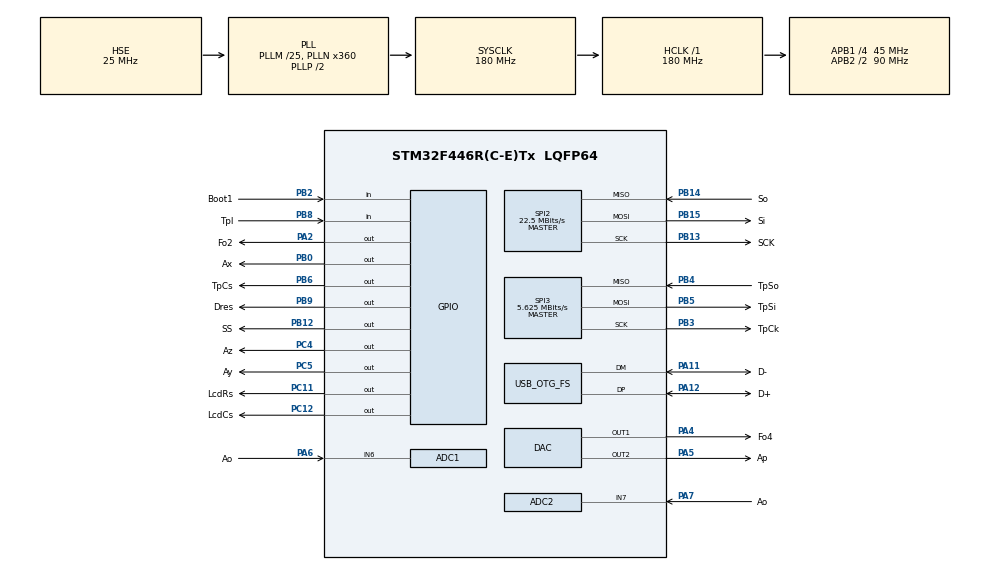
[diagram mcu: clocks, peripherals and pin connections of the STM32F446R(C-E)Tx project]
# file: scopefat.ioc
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ADC1.Channel-0\#ChannelRegularConversion=ADC_CHANNEL_6
ADC1.ClockPrescaler=ADC_CLOCK_SYNC_PCLK_DIV4
ADC1.ExternalTrigConv=ADC_EXTERNALTRIGCONV_T1_CC1
ADC1.Mode=__NULL
ADC1.NbrOfConversionFlag=1
ADC1.Rank-0\#ChannelRegularConversion=1
ADC1.SamplingTime-0\#ChannelRegularConversion=ADC_SAMPLETIME_3CYCLES
ADC1.master=1
ADC2.Channel-0\#ChannelRegularConversion=ADC_CHANNEL_7
ADC2.ClockPrescaler=ADC_CLOCK_SYNC_PCLK_DIV4
ADC2.ExternalTrigConv=ADC_EXTERNALTRIGCONV_T1_CC1
ADC2.NbrOfConversion=1
ADC2.NbrOfConversionFlag=1
ADC2.Rank-0\#ChannelRegularConversion=1
ADC2.SamplingTime-0\#ChannelRegularConversion=ADC_SAMPLETIME_3CYCLES
DAC.DAC_OutputBuffer=DAC_OUTPUTBUFFER_ENABLE
DAC.DAC_OutputBuffer2=DAC_OUTPUTBUFFER_DISABLE
Dma.ADC1.0.Direction=DMA_PERIPH_TO_MEMORY
Dma.ADC1.0.FIFOMode=DMA_FIFOMODE_DISABLE
Dma.ADC1.0.Instance=DMA2_Stream0
Dma.ADC1.0.MemDataAlignment=DMA_MDATAALIGN_HALFWORD
Dma.ADC1.0.MemInc=DMA_MINC_ENABLE
Dma.ADC1.0.Mode=DMA_NORMAL
Dma.ADC1.0.PeriphDataAlignment=DMA_PDATAALIGN_HALFWORD
Dma.ADC1.0.PeriphInc=DMA_PINC_DISABLE
Dma.ADC1.0.Priority=DMA_PRIORITY_LOW
Dma.DAC1.1.Direction=DMA_MEMORY_TO_PERIPH
Dma.DAC1.1.FIFOMode=DMA_FIFOMODE_DISABLE
Dma.DAC1.1.Instance=DMA1_Stream5
Dma.DAC1.1.MemDataAlignment=DMA_MDATAALIGN_HALFWORD
Dma.DAC1.1.MemInc=DMA_MINC_ENABLE
Dma.DAC1.1.Mode=DMA_NORMAL
Dma.DAC1.1.PeriphDataAlignment=DMA_PDATAALIGN_HALFWORD
Dma.DAC1.1.PeriphInc=DMA_PINC_DISABLE
Dma.DAC1.1.Priority=DMA_PRIORITY_LOW
Dma.Request0=ADC1
Dma.Request1=DAC1
FATFS._FS_MINIMIZE=3
FATFS._FS_NORTC=1
FATFS._MAX_SS=4096
FATFS._MIN_SS=4096
FATFS._NORTC_MDAY=20
FATFS._NORTC_MON=11
FATFS._NORTC_YEAR=2021
FATFS._USE_FASTSEEK=0
FATFS._USE_MKFS=1
Mcu.Family=STM32F4
Mcu.Name=STM32F446R(C-E)Tx
Mcu.Package=LQFP64
NVIC.DMA1_Stream5_IRQn=true\:0\:0\:false\:false\:true\:false\:true\:true
NVIC.DMA2_Stream0_IRQn=true\:0\:0\:false\:false\:true\:false\:true\:true
NVIC.OTG_FS_IRQn=true\:0\:0\:false\:false\:true\:true\:true\:true
NVIC.PriorityGroup=NVIC_PRIORITYGROUP_4
NVIC.SPI2_IRQn=true\:1\:0\:true\:false\:true\:true\:true\:true
NVIC.SPI3_IRQn=true\:1\:0\:true\:false\:true\:true\:true\:true
NVIC.TIM3_IRQn=true\:0\:0\:false\:false\:true\:true\:true\:true
NVIC.TIM6_DAC_IRQn=true\:0\:0\:false\:false\:false\:true\:false\:true
PA0-WKUP.Mode=SYS_WakeUp0
PA0-WKUP.Signal=SYS_WKUP0
PA11.GPIO_Label=D-
PA11.Mode=Device_Only
PA11.Signal=USB_OTG_FS_DM
PA12.GPIO_Label=D+
PA12.Mode=Device_Only
PA12.Signal=USB_OTG_FS_DP
PA13.Mode=Serial_Wire
PA13.Signal=SYS_JTMS-SWDIO
PA14.Mode=Serial_Wire
PA14.Signal=SYS_JTCK-SWCLK
PA2.GPIO_Label=Fo2
PA2.Signal=GPIO_Output
PA4.GPIO_Label=Fo4
PA4.Signal=COMP_DAC1_group
PA5.GPIO_Label=Ap
PA5.Signal=COMP_DAC2_group
PA6.GPIO_Label=Ao
PA6.Signal=ADCx_IN6
PA7.GPIO_Label=Ao
PA7.Signal=ADCx_IN7
PB0.GPIO_Label=Ax
PB0.Signal=GPIO_Output
PB12.GPIO_Label=SS
PB12.GPIO_PuPd=GPIO_PULLUP
PB12.PinState=GPIO_PIN_SET
PB12.Signal=GPIO_Output
PB13.GPIO_Label=SCK
PB13.Mode=Full_Duplex_Master
PB13.Signal=SPI2_SCK
PB14.GPIO_Label=So
PB14.Mode=Full_Duplex_Master
PB14.Signal=SPI2_MISO
PB15.GPIO_Label=Si
PB15.Mode=Full_Duplex_Master
PB15.Signal=SPI2_MOSI
PB2.GPIO_Label=Boot1
PB2.Signal=GPIO_Input
PB3.GPIO_Label=TpCk
PB3.Mode=Full_Duplex_Master
PB3.Signal=SPI3_SCK
PB4.GPIO_Label=TpSo
PB4.Mode=Full_Duplex_Master
PB4.Signal=SPI3_MISO
PB5.GPIO_Label=TpSi
PB5.Mode=Full_Duplex_Master
PB5.Signal=SPI3_MOSI
PB6.GPIO_Label=TpCs
PB6.GPIO_PuPd=GPIO_PULLUP
PB6.PinState=GPIO_PIN_SET
PB6.Signal=GPIO_Output
PB8.GPIO_Label=TpI
PB8.GPIO_PuPd=GPIO_PULLUP
PB8.Signal=GPIO_Input
PB9.GPIO_Label=Dres
PB9.Signal=GPIO_Output
PC11.GPIO_Label=LcdRs
PC11.Signal=GPIO_Output
PC12.GPIO_Label=LcdCs
PC12.GPIO_PuPd=GPIO_PULLUP
PC12.PinState=GPIO_PIN_SET
PC12.Signal=GPIO_Output
PC4.GPIO_Label=Az
PC4.Signal=GPIO_Output
PC5.GPIO_Label=Ay
PC5.Signal=GPIO_Output
PH0-OSC_IN.Mode=HSE-External-Oscillator
PH0-OSC_IN.Signal=RCC_OSC_IN
PH1-OSC_OUT.Mode=HSE-External-Oscillator
PH1-OSC_OUT.Signal=RCC_OSC_OUT
ProjectManager.HeapSize=0x2000
ProjectManager.StackSize=0x1000
ProjectManager.TargetToolchain=STM32CubeIDE
RCC.AHBFreq_Value=180000000
RCC.APB1CLKDivider=RCC_HCLK_DIV4
RCC.APB1Freq_Value=45000000
RCC.APB1TimFreq_Value=90000000
RCC.APB2CLKDivider=RCC_HCLK_DIV2
RCC.APB2Freq_Value=90000000
RCC.APB2TimFreq_Value=180000000
RCC.CortexFreq_Value=22500000
RCC.Cortex_Div=SYSTICK_CLKSOURCE_HCLK_DIV8
RCC.HCLKFreq_Value=180000000
RCC.PLLM=25
RCC.PLLN=360
RCC.PLLQ=5
RCC.PLLSAIM=25
RCC.PLLSAIP=RCC_PLLSAIP_DIV4
RCC.SYSCLKFreq_VALUE=180000000
RCC.SYSCLKSource=RCC_SYSCLKSOURCE_PLLCLK
RCC.USBCLockSelection=RCC_CLK48CLKSOURCE_PLLSAIP
RCC.USBFreq_Value=48000000
RCC.VCOOutputFreq_Value=360000000
SH.ADCx_IN6.0=ADC1_IN6,IN6
SH.ADCx_IN7.0=ADC2_IN7,IN7
SH.COMP_DAC1_group.0=DAC_OUT1,DAC_OUT1
SH.COMP_DAC2_group.0=DAC_OUT2,DAC_OUT2
SPI2.BaudRatePrescaler=SPI_BAUDRATEPRESCALER_2
SPI2.CLKPhase=SPI_PHASE_2EDGE
SPI2.CLKPolarity=SPI_POLARITY_HIGH
SPI2.CRCCalculation=SPI_CRCCALCULATION_DISABLE
SPI2.CalculateBaudRate=22.5 MBits/s
SPI2.Direction=SPI_DIRECTION_2LINES
SPI2.FirstBit=SPI_FIRSTBIT_MSB
SPI2.Mode=SPI_MODE_MASTER
SPI2.VirtualType=VM_MASTER
SPI3.BaudRatePrescaler=SPI_BAUDRATEPRESCALER_8
SPI3.CalculateBaudRate=5.625 MBits/s
SPI3.DataSize=SPI_DATASIZE_16BIT
SPI3.Direction=SPI_DIRECTION_2LINES
SPI3.FirstBit=SPI_FIRSTBIT_MSB
SPI3.Mode=SPI_MODE_MASTER
SPI3.VirtualType=VM_MASTER
TIM1.AutoReloadPreload=TIM_AUTORELOAD_PRELOAD_ENABLE
TIM1.ClockDivision=TIM_CLOCKDIVISION_DIV1
TIM1.CounterMode=TIM_COUNTERMODE_DOWN
TIM1.Period=999
TIM1.Prescaler=89
TIM3.AutoReloadPreload=TIM_AUTORELOAD_PRELOAD_ENABLE
TIM3.Period=7499
TIM3.Prescaler=11
TIM3.TIM_MasterOutputTrigger=TIM_TRGO_UPDATE
TIM5.AutoReloadPreload=TIM_AUTORELOAD_PRELOAD_ENABLE
TIM5.Period=18000
TIM5.Prescaler=9
TIM7.Period=999
TIM7.Prescaler=2
USB_DEVICE.CLASS_NAME_FS=MSC
USB_DEVICE.VirtualMode-MSC_FS=Msc
USB_DEVICE.VirtualModeFS=Msc_FS
USB_OTG_FS.VirtualMode=Device_Only
VP_FATFS_VS_Generic.Mode=User_defined
VP_TIM1_VS_ClockSourceINT.Mode=Internal
VP_TIM3_VS_ClockSourceINT.Mode=Internal
VP_TIM5_VS_ClockSourceINT.Mode=Internal
VP_TIM7_VS_ClockSourceINT.Mode=Enable_Timer
VP_USB_DEVICE_VS_USB_DEVICE_MSC_FS.Mode=MSC_FS
board=custom

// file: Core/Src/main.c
/* USER CODE BEGIN Header */
/**
  ******************************************************************************
  * @file           : main.c
  * @brief          : Main program body
  ******************************************************************************
  * @attention
  *
  * <h2><center>&copy; Copyright (c) 2021 STMicroelectronics.
  * All rights reserved.</center></h2>
  *
  * This software component is licensed by ST under Ultimate Liberty license
  * SLA0044, the "License"; You may not use this file except in compliance with
  * the License. You may obtain a copy of the License at:
  *                             www.st.com/SLA0044
  *
  ******************************************************************************
  */
/* USER CODE END Header */
#include "main.h"
#include "fatfs.h"
#include "usb_device.h"

/* USER CODE BEGIN Includes */
#include "Lcd_ctl.h"
#include "Touch_ctl.h"
#include "Flash.h"
#include "Draw.h"
#include "Process.h"
#include "File.h"
#include "Menu.h"
#include "Display.h"
#include "Bios.h"
#include "Flash.h"
/* USER CODE END Includes */

ADC_HandleTypeDef hadc1;
ADC_HandleTypeDef hadc2;
DMA_HandleTypeDef hdma_adc1;

DAC_HandleTypeDef hdac;
DMA_HandleTypeDef hdma_dac1;

SPI_HandleTypeDef hspi2;
SPI_HandleTypeDef hspi3;

TIM_HandleTypeDef htim1;
TIM_HandleTypeDef htim3;
TIM_HandleTypeDef htim5;
TIM_HandleTypeDef htim7;

/* USER CODE BEGIN PV */
TIM_OC_InitTypeDef octim1;
TIM_OC_InitTypeDef octim3;
TIM_OC_InitTypeDef octim5;
char  APP_VERSION[] = "V2.00";   //bump version to 2
/* USER CODE END PV */

void SystemClock_Config(void);
static void MX_GPIO_Init(void);
static void MX_DMA_Init(void);
static void MX_ADC1_Init(void);
static void MX_ADC2_Init(void);
static void MX_DAC_Init(void);
static void MX_SPI2_Init(void);
static void MX_SPI3_Init(void);
static void MX_TIM1_Init(void);
static void MX_TIM3_Init(void);
static void MX_TIM5_Init(void);
static void MX_TIM7_Init(void);

int main(void)
{
  /* USER CODE BEGIN 1 */
  short i;
  char SAVE_FLAG = 0;
  char Pop_Num = 0;
  unsigned dma_tmp;
  /* USER CODE END 1 */

  /* MCU Configuration--------------------------------------------------------*/

  /* Reset of all peripherals, Initializes the Flash interface and the Systick. */
  HAL_Init();

  /* Configure the system clock */
  SystemClock_Config();

  /* Initialize all configured peripherals */
  MX_GPIO_Init();
  MX_DMA_Init();
  MX_ADC1_Init();
  MX_ADC2_Init();
  MX_DAC_Init();
  MX_SPI2_Init();
  MX_SPI3_Init();
  MX_TIM1_Init();
  MX_TIM3_Init();
  MX_TIM5_Init();
  MX_USB_DEVICE_Init();
  MX_TIM7_Init();
  MX_FATFS_Init();
  /* USER CODE BEGIN 2 */

  // initialize adc dma
  __HAL_DMA_DISABLE(&hdma_adc1);
  dma_tmp = hdma_adc1.Instance->CR;
  dma_tmp &= 0x0FFCFFFE;
  dma_tmp |= 0x30000; //set very high pirority
  hdma_adc1.Instance->CR = dma_tmp;

   hdma_adc1.Instance->M0AR = (unsigned)&Sampl[2];
   hdma_adc1.Instance->PAR = hadc1.Instance->DR;
   __HAL_DMA_SET_COUNTER(&hdma_adc1, 0x1000);
   __HAL_DMA_ENABLE(&hdma_adc1);

  // inittialize LCD and touch screen
  Init_LCD();
  Init_Touch();

  SetColor(BLK, WHT);

  DispStr8x14(8, 90, PRN, "         Oscilloscope              ");
  DispStr8x14(8+22*8, 90, PRN, APP_VERSION);
  DispStr8x14(8, 70, PRN, "        System Initializing...       ");

  HAL_Delay(1000);

//=============================check callibration׼===========================
  Read_CalFlag();

  if(Cal_Flag == 1)
  {
	  Cal_Flag = 0;
	  SetColor(BLK, WHT);
	  Zero_Align();                              //set zero
	  Restore();                                 //restore list
	  Save_Parameter();                          //save list
	  Save_Kpg();
  }
  Read_Kpg();
  Read_Parameter();
  File_Num();
  memcpy(Data, DEMO, 310);

  LCD_ClrScrn(GRY);
  Update_Title();

  List[SMPL_DPTH].Flg |= UPD;

  StdBy_Time = List[STANDBY].Val * MIN_UNIT;

  // Start timer
  HAL_TIM_Base_Start_IT(&htim3);

  /* USER CODE END 2 */

  /* Infinite loop */
  /* USER CODE BEGIN WHILE */
  while (1)
  {
	    if((List[STANDBY].Val != 0)&&(StdBy_Time == 0))
	    {
	      StdBy_Flag = 1;
	    }

	    Update_Detail();
	    Update_Blink();
	    WaveProcess();
	    DrawWindow(WaveBuf, ParamTab);

	   if(TIM_BASE_Val!=0)
	    {
	      List[TIM_BASE].Val=TIM_BASE_Val;
	      List[TIM_BASE].Flg |= UPD;
	      TIM_BASE_Val=Current;
	      Update_Title();
	      Current=TIM_BASE_Val;
	      TIM_BASE_Val=0;
	    }
    /* USER CODE END WHILE */

    /* USER CODE BEGIN 3 */
	    if(Key_Buffer != 0)
	    {
	      StdBy_Flag = 0;
	      PopupCnt = 10;                  // �ް���ʱ�˵���ά����ʾ 10��
	      List[MenuNow[Current]].Flg |= UPD;

	      switch (Key_Buffer)
	      {
	     case KEYCODE_MEM:
	         i = Save_Bmp(List[SAVE_BMP].Val);
	         DispFileInfo(i);
	         DispBMPInfo();
	        break;

	     case KEYCODE_ACT:
	       SAVE_FLAG=0;
	       if(PopType & DAILOG_POP) Close_Pop();
	       else {
	         Dialog_Pop("Save All ParamTab?");
	         Pop_Num = 1;
	       }
	       break;

	     case KEYCODE_PLAY:
	       if((Current == ST)&&(Cal_Flag==0))
	       {
	         if(PopType & DAILOG_POP){
	           if(Pop_Num == 1){
	             Save_Parameter();
	             Close_Pop();
	           }
	           else{
	             Close_Pop();
	             List_Pop();
	           }
	         }
	         else if((PopType & LIST_POP) && (MenuNow[ST]==RESTORE )) {
	           Restore_CalPar();
	           Dialog_Pop("Save All ParamTab?");
	           Cal_Flag = 1;
	         }
	         else if((PopType & LIST_POP) && (MenuNow[ST]==AUTO_CAL )) {
	           Close_Pop();
	           Calibrate_Pop("Waiting for Calibration...");
	           Cal_Flag = 1;
	           DrawWindow(WaveBuf, ParamTab);
	           Zero_Align();
	           Update_Proc_All();
	           Close_Pop();
	           CalSave_Pop("Save Cal ParamTab?");
	         }
	         break;
	       }
	       else if((Current == ST)&&(Cal_Flag==1)){
	         if(PopType & DAILOG_POP){
	           Save_Kpg();
	           Close_Pop();
	           Cal_Flag = 0;
	         }
	         break;
	       }

	       if ((Current == FN)&&(PopType & LIST_POP)){
	         i = 0;
	         {
	           if(SAVE_FLAG==KEYCODE_MEM)Close_Pop();
	           if(MenuNow[FN] == SAVE_BMP) i = Save_Bmp(List[SAVE_BMP].Val);
	           if(MenuNow[FN] == SAVE_DAT) i = Save_Dat(List[SAVE_DAT].Val);
	           if(MenuNow[FN] == SAVE_BUF) i = Save_Buf(List[SAVE_BUF].Val);
	           if(MenuNow[FN] == SAVE_CSV) i = Save_Csv(List[SAVE_CSV].Val);
	           if(MenuNow[FN] == SAVE_SVG) i = Save_Svg(List[SAVE_SVG].Val);
	           if(MenuNow[FN] == LOAD_DAT) i = Load_Dat(List[LOAD_DAT].Val);
	           if(MenuNow[FN] == LOAD_BUF) i = Load_Buf(List[LOAD_BUF].Val);
	           SAVE_FLAG = 0;
	         }
	         DispFileInfo(i);

	         if(PopType & DAILOG_POP)  Close_Pop();

	       }
	       else if((PopType & DAILOG_POP ) &&(SAVE_FLAG!=KEYCODE_MEM)){
	         Save_Parameter();
	         Cal_Flag = 0;
	         Close_Pop();
	         break;
	       }
	       else {
	          if(Status & STOP){
	            if(Status & LOADM )Status &= ~LOADM;
	            Status &= ~STOP;     // ��������״̬
	            if(List[SYNCMODE].Val==SINGL) ADC_Start();
	            if(List[SYNCMODE].Val==NORM)  ADC_Start();
	            Norm_Clr = 1;
	            SNGL_Kflag = 1;
	            Update_Proc_All();

	            if(*(short*)F_Sector==0xaa55)Restore_Scene();

	          }
	          else {
	            Status |=  STOP;     // ������ͣ״̬
	            Ch1_Posi = List[V0_POSI].Val;
	            Ch2_Posi = List[EXT_POSI].Val;
	            Tri_Posi = List[THRESHOLD].Val;
	          #ifdef SAVEBMP
	            Save_Bmp(List[SAVE_BMP].Val);
	            List[SAVE_BMP].Val++;
	          #endif
	          }
	        }
	        DispStatus();            // ��ʾ����״̬
 	       break;

	      case KEYCODE_D_MANU:
	        if(List[FITTRIGG].Val)
	        {
	          Auto_Fit();
	        }
	        break;

	      case KEYCODE_MANU:
	        if(!(PopType & LIST_POP)){
	            if(Cal_Flag){
	              Cal_Flag = 0;
	              Close_Pop();
	            }else{
	              Cal_Flag = 0;
	              List_Pop(); // �˵����ر�ʱ, �򿪲˵���
	            }
	        }
	        else {
	          Close_Pop();                // �˵����Ѵ�ʱ, �رղ˵���
	          // ------------ �ָ���ʾ��Ϣ��ʾ�����ԭ����ʾ��Ϣ ------------
	          if(Current == XN)      List[T1_POSI   ].Flg |= UPD;
	          else if(Current == YN) List[V1_POSI   ].Flg |= UPD;
	          else                   List[MenuNow[SN]].Flg |= UPD;
	          // ------------ �ָ���ʾ��Ϣ��ʾ���Ҷ�ԭ����ʾ��Ϣ ------------
	          if(MenuNow[Current] == SMPL_DPTH) List[SMPL_DPTH].Flg  |= UPD; // ������ȸ�����ʾ
	          else if(Current == FN)           List[MenuNow[FN]].Flg |= UPD; // ָ�����ļ���д�������ʾ
	          else                             List[MenuNow[ME]].Flg |= UPD; // ָ���Ĳ��β����������ʾ
	        }
	        break;

	      case KEYCODE_UP:
	        if (PopType & LIST_POP){
	          if(MenuNow[Current] > MU_BEGN[Current]) MenuNow[Current]--;
	          else                  MenuNow[Current] += M_ITEMS[Current]-1;
	        } else {
	          if (Current > 0) Current--;
	          else             Current = ST;
	        }
	        break;

	     case KEYCODE_DOWN:
	        if(PopType & LIST_POP){
	          MenuNow[Current]++;
	          if(MenuNow[Current] >=(MU_BEGN[Current]+M_ITEMS[Current])){
	            MenuNow[Current] = MU_BEGN[Current];
	          }
	        } else {
	          if (Current < 7) Current++;
	          else             Current = YN;
	        }
	        break;

	      case KEYCODE_LEFT:
	        if((Current==ST)&& !(PopType & LIST_POP))break;
	        List[MenuNow[Current]].Flg |= UPD;  // ˢ�±��ǰԭ��ʾ��Ŀ����
	        if(List[MenuNow[Current]].Val <=MIN[MenuNow[Current]]){
	          if((MenuNow[Current] == COUPLING)||(MenuNow[Current] == YN_TYPE )||
	            (MenuNow[Current] == XN_TYPE )||(MenuNow[Current] == EXT_HIDE)||
	            ( MenuNow[Current] == FITTRIGG)||(MenuNow[Current] == TR_MODE )||
	            ( MenuNow[Current] == SYNCMODE)||(MenuNow[Current] == EXT_REFN)||
	            (MenuNow[Current] == PROBEATT)||(MenuNow[Current] == TPYE_OUT))
	            List[MenuNow[Current]].Val =MAX[MenuNow[Current]] ;
	        } else {
	          if((MenuNow[Current] == VIEWPOSI)&&((List[MenuNow[Current]].Val) >=150 ))
	            List[MenuNow[Current]].Val-=25;
	          else{
	          //============5.04�޸������߳�����������========
	            if(MenuNow[Current] == THRESHOLD){
	              if((List[V0_POSI].Val + List[THRESHOLD].Val) > 2)  //����������
	                List[MenuNow[Current]].Val--;
	            }
	            else if(MenuNow[Current] == V0_POSI){
	              if((List[V0_POSI].Val + List[THRESHOLD].Val) <2){
	                List[V0_POSI].Val--;
	                List[THRESHOLD].Val++;
	              }else List[MenuNow[Current]].Val--;
	            }
	            else if((MenuNow[Current] ==V1_POSI) && (List[V1_POSI].Val <= List[V2_POSI].Val))
	            List[MenuNow[Current]].Val=List[V2_POSI].Val;
	            else List[MenuNow[Current]].Val--;
	          }
	          //==============================================
	            if(MenuNow[Current] == SMPL_DPTH){
	              List[VIEWPOSI].Val=1 ;
	           }
	            if((MenuNow[Current] ==T2_POSI) && (List[T2_POSI].Val <= List[T1_POSI].Val))
	              List[MenuNow[Current]].Val=List[T1_POSI].Val;
	        }
	        if(Current == TRG) Status &= ~STOP; // �ı�ͬ��ģʽ��ָ�����״̬
	        break;

	      case KEYCODE_RIGHT:
	        if((Current==ST)&& !(PopType & LIST_POP))break;
	        List[MenuNow[Current]].Flg |= UPD;  // ˢ�±��ǰԭ��ʾ��Ŀ����
	        if(List[MenuNow[Current]].Val >=MAX[MenuNow[Current]] ){
	          if((MenuNow[Current] == COUPLING)||(MenuNow[Current] == YN_TYPE )||
	            (MenuNow[Current] == XN_TYPE )||(MenuNow[Current] == EXT_HIDE)||
	            ( MenuNow[Current] == FITTRIGG)||(MenuNow[Current] == TR_MODE )||
	            ( MenuNow[Current] == SYNCMODE)||(MenuNow[Current] == EXT_REFN)||
	            (MenuNow[Current] == PROBEATT)||(MenuNow[Current] == TPYE_OUT))
	            List[MenuNow[Current]].Val =MIN[MenuNow[Current]] ;
	        } else {
	            if(MenuNow[Current] == VIEWPOSI)
	            {
	              if(List[MenuNow[Current]].Val <(DEPTH[List[SMPL_DPTH].Val]-(350-List[SMPL_DPTH].Val)))
	              {
	                if(List[MenuNow[Current]].Val >150 )
	                  List[MenuNow[Current]].Val += 25;
	                else
	                  List[MenuNow[Current]].Val++;
	              }
	            }
	            else{
	              //============4.27�޸������߳�����������========
	              if(MenuNow[Current] == THRESHOLD){
	                if((List[V0_POSI].Val + List[THRESHOLD].Val) < 198)
	                 List[MenuNow[Current]].Val++;
	              }
	              else if(MenuNow[Current] == V0_POSI){
	                if((List[V0_POSI].Val + List[THRESHOLD].Val) > 198){
	                  List[V0_POSI].Val++;
	                  List[THRESHOLD].Val--;
	                }else List[MenuNow[Current]].Val++;
	              }
	              else if((MenuNow[Current] ==V2_POSI) && (List[V2_POSI].Val >= List[V1_POSI].Val))
	                List[MenuNow[Current]].Val=List[V1_POSI].Val;
	              else List[MenuNow[Current]].Val++;
	            }
	            //==============================================
	            if((MenuNow[Current] ==T1_POSI) && (List[T1_POSI].Val >= List[T2_POSI].Val))
	               List[MenuNow[Current]].Val=List[T2_POSI].Val;
	        }
	        if(Current == TRG) {Status &= ~STOP; // �ı�ͬ��ģʽ��ָ�����״̬
	        if(List[SYNCMODE].Val==SINGL)ADC_Start(); }
	        break;

	     } //switch end
	     List[MenuNow[Current]].Flg |= UPD;
	     StdBy_Time  = List[STANDBY].Val * MIN_UNIT;  //����

	      if(PopType & LIST_POP) Show_List();
	      Update_Title();
	      Key_Buffer = 0;
	    } //if key end
  }
  /* USER CODE END 3 */
}

void SystemClock_Config(void)
{
  RCC_OscInitTypeDef RCC_OscInitStruct = {0};
  RCC_ClkInitTypeDef RCC_ClkInitStruct = {0};

  /** Configure the main internal regulator output voltage
  */
  __HAL_RCC_PWR_CLK_ENABLE();
  __HAL_PWR_VOLTAGESCALING_CONFIG(PWR_REGULATOR_VOLTAGE_SCALE1);

  /** Initializes the RCC Oscillators according to the specified parameters
  * in the RCC_OscInitTypeDef structure.
  */
  RCC_OscInitStruct.OscillatorType = RCC_OSCILLATORTYPE_HSE;
  RCC_OscInitStruct.HSEState = RCC_HSE_ON;
  RCC_OscInitStruct.PLL.PLLState = RCC_PLL_ON;
  RCC_OscInitStruct.PLL.PLLSource = RCC_PLLSOURCE_HSE;
  RCC_OscInitStruct.PLL.PLLM = 25;
  RCC_OscInitStruct.PLL.PLLN = 360;
  RCC_OscInitStruct.PLL.PLLP = RCC_PLLP_DIV2;
  RCC_OscInitStruct.PLL.PLLQ = 5;
  RCC_OscInitStruct.PLL.PLLR = 2;
  if (HAL_RCC_OscConfig(&RCC_OscInitStruct) != HAL_OK)
  {
    Error_Handler();
  }

  /** Activate the Over-Drive mode
  */
  if (HAL_PWREx_EnableOverDrive() != HAL_OK)
  {
    Error_Handler();
  }

  /** Initializes the CPU, AHB and APB buses clocks
  */
  RCC_ClkInitStruct.ClockType = RCC_CLOCKTYPE_HCLK|RCC_CLOCKTYPE_SYSCLK
                              |RCC_CLOCKTYPE_PCLK1|RCC_CLOCKTYPE_PCLK2;
  RCC_ClkInitStruct.SYSCLKSource = RCC_SYSCLKSOURCE_PLLCLK;
  RCC_ClkInitStruct.AHBCLKDivider = RCC_SYSCLK_DIV1;
  RCC_ClkInitStruct.APB1CLKDivider = RCC_HCLK_DIV4;
  RCC_ClkInitStruct.APB2CLKDivider = RCC_HCLK_DIV2;

  if (HAL_RCC_ClockConfig(&RCC_ClkInitStruct, FLASH_LATENCY_5) != HAL_OK)
  {
    Error_Handler();
  }
}

static void MX_ADC1_Init(void)
{

  ADC_ChannelConfTypeDef sConfig = {0};

  /** Configure the global features of the ADC (Clock, Resolution, Data Alignment and number of conversion)
  */
  hadc1.Instance = ADC1;
  hadc1.Init.ClockPrescaler = ADC_CLOCK_SYNC_PCLK_DIV4;
  hadc1.Init.Resolution = ADC_RESOLUTION_12B;
  hadc1.Init.ScanConvMode = DISABLE;
  hadc1.Init.ContinuousConvMode = DISABLE;
  hadc1.Init.DiscontinuousConvMode = DISABLE;
  hadc1.Init.ExternalTrigConvEdge = ADC_EXTERNALTRIGCONVEDGE_RISING;
  hadc1.Init.ExternalTrigConv = ADC_EXTERNALTRIGCONV_T1_CC1;
  hadc1.Init.DataAlign = ADC_DATAALIGN_RIGHT;
  hadc1.Init.NbrOfConversion = 1;
  hadc1.Init.DMAContinuousRequests = DISABLE;
  hadc1.Init.EOCSelection = ADC_EOC_SINGLE_CONV;
  if (HAL_ADC_Init(&hadc1) != HAL_OK)
  {
    Error_Handler();
  }

  /** Configure for the selected ADC regular channel its corresponding rank in the sequencer and its sample time.
  */
  sConfig.Channel = ADC_CHANNEL_6;
  sConfig.Rank = 1;
  sConfig.SamplingTime = ADC_SAMPLETIME_3CYCLES;
  if (HAL_ADC_ConfigChannel(&hadc1, &sConfig) != HAL_OK)
  {
    Error_Handler();
  }

}

static void MX_ADC2_Init(void)
{

  ADC_ChannelConfTypeDef sConfig = {0};

  /** Configure the global features of the ADC (Clock, Resolution, Data Alignment and number of conversion)
  */
  hadc2.Instance = ADC2;
  hadc2.Init.ClockPrescaler = ADC_CLOCK_SYNC_PCLK_DIV4;
  hadc2.Init.Resolution = ADC_RESOLUTION_12B;
  hadc2.Init.ScanConvMode = DISABLE;
  hadc2.Init.ContinuousConvMode = DISABLE;
  hadc2.Init.DiscontinuousConvMode = DISABLE;
  hadc2.Init.ExternalTrigConvEdge = ADC_EXTERNALTRIGCONVEDGE_RISING;
  hadc2.Init.ExternalTrigConv = ADC_EXTERNALTRIGCONV_T1_CC1;
  hadc2.Init.DataAlign = ADC_DATAALIGN_RIGHT;
  hadc2.Init.NbrOfConversion = 1;
  hadc2.Init.DMAContinuousRequests = DISABLE;
  hadc2.Init.EOCSelection = ADC_EOC_SINGLE_CONV;
  if (HAL_ADC_Init(&hadc2) != HAL_OK)
  {
    Error_Handler();
  }

  /** Configure for the selected ADC regular channel its corresponding rank in the sequencer and its sample time.
  */
  sConfig.Channel = ADC_CHANNEL_7;
  sConfig.Rank = 1;
  sConfig.SamplingTime = ADC_SAMPLETIME_3CYCLES;
  if (HAL_ADC_ConfigChannel(&hadc2, &sConfig) != HAL_OK)
  {
    Error_Handler();
  }

}

static void MX_DAC_Init(void)
{

  DAC_ChannelConfTypeDef sConfig = {0};

  /** DAC Initialization
  */
  hdac.Instance = DAC;
  if (HAL_DAC_Init(&hdac) != HAL_OK)
  {
    Error_Handler();
  }

  /** DAC channel OUT1 config
  */
  sConfig.DAC_Trigger = DAC_TRIGGER_NONE;
  sConfig.DAC_OutputBuffer = DAC_OUTPUTBUFFER_ENABLE;
  if (HAL_DAC_ConfigChannel(&hdac, &sConfig, DAC_CHANNEL_1) != HAL_OK)
  {
    Error_Handler();
  }

  /** DAC channel OUT2 config
  */
  sConfig.DAC_OutputBuffer = DAC_OUTPUTBUFFER_DISABLE;
  if (HAL_DAC_ConfigChannel(&hdac, &sConfig, DAC_CHANNEL_2) != HAL_OK)
  {
    Error_Handler();
  }
  /* USER CODE BEGIN DAC_Init 2 */
  HAL_DAC_SetValue(&hdac, DAC_CHANNEL_2, DAC_ALIGN_12B_R, 620);  //(620*4095)/330;//50mv
  /* USER CODE END DAC_Init 2 */

}

static void MX_SPI2_Init(void)
{

  /* SPI2 parameter configuration*/
  hspi2.Instance = SPI2;
  hspi2.Init.Mode = SPI_MODE_MASTER;
  hspi2.Init.Direction = SPI_DIRECTION_2LINES;
  hspi2.Init.DataSize = SPI_DATASIZE_8BIT;
  hspi2.Init.CLKPolarity = SPI_POLARITY_HIGH;
  hspi2.Init.CLKPhase = SPI_PHASE_2EDGE;
  hspi2.Init.NSS = SPI_NSS_SOFT;
  hspi2.Init.BaudRatePrescaler = SPI_BAUDRATEPRESCALER_2;
  hspi2.Init.FirstBit = SPI_FIRSTBIT_MSB;
  hspi2.Init.TIMode = SPI_TIMODE_DISABLE;
  hspi2.Init.CRCCalculation = SPI_CRCCALCULATION_DISABLE;
  hspi2.Init.CRCPolynomial = 10;
  if (HAL_SPI_Init(&hspi2) != HAL_OK)
  {
    Error_Handler();
  }

}

static void MX_SPI3_Init(void)
{

  /* SPI3 parameter configuration*/
  hspi3.Instance = SPI3;
  hspi3.Init.Mode = SPI_MODE_MASTER;
  hspi3.Init.Direction = SPI_DIRECTION_2LINES;
  hspi3.Init.DataSize = SPI_DATASIZE_16BIT;
  hspi3.Init.CLKPolarity = SPI_POLARITY_LOW;
  hspi3.Init.CLKPhase = SPI_PHASE_1EDGE;
  hspi3.Init.NSS = SPI_NSS_SOFT;
  hspi3.Init.BaudRatePrescaler = SPI_BAUDRATEPRESCALER_8;
  hspi3.Init.FirstBit = SPI_FIRSTBIT_MSB;
  hspi3.Init.TIMode = SPI_TIMODE_DISABLE;
  hspi3.Init.CRCCalculation = SPI_CRCCALCULATION_DISABLE;
  hspi3.Init.CRCPolynomial = 10;
  if (HAL_SPI_Init(&hspi3) != HAL_OK)
  {
    Error_Handler();
  }

}

static void MX_TIM1_Init(void)
{

  TIM_ClockConfigTypeDef sClockSourceConfig = {0};
  TIM_MasterConfigTypeDef sMasterConfig = {0};

  /* USER CODE BEGIN TIM1_Init 1 */
  octim1.Pulse = 500;
  octim1.OCMode = TIM_OCMODE_PWM2;
  /* USER CODE END TIM1_Init 1 */
  htim1.Instance = TIM1;
  htim1.Init.Prescaler = 89;
  htim1.Init.CounterMode = TIM_COUNTERMODE_DOWN;
  htim1.Init.Period = 999;
  htim1.Init.ClockDivision = TIM_CLOCKDIVISION_DIV1;
  htim1.Init.RepetitionCounter = 0;
  htim1.Init.AutoReloadPreload = TIM_AUTORELOAD_PRELOAD_ENABLE;
  if (HAL_TIM_Base_Init(&htim1) != HAL_OK)
  {
    Error_Handler();
  }
  sClockSourceConfig.ClockSource = TIM_CLOCKSOURCE_INTERNAL;
  if (HAL_TIM_ConfigClockSource(&htim1, &sClockSourceConfig) != HAL_OK)
  {
    Error_Handler();
  }
  sMasterConfig.MasterOutputTrigger = TIM_TRGO_RESET;
  sMasterConfig.MasterSlaveMode = TIM_MASTERSLAVEMODE_DISABLE;
  if (HAL_TIMEx_MasterConfigSynchronization(&htim1, &sMasterConfig) != HAL_OK)
  {
    Error_Handler();
  }
  /* USER CODE BEGIN TIM1_Init 2 */
  HAL_TIM_OC_ConfigChannel(&htim1, &octim1, 1 );
  __HAL_TIM_URS_ENABLE(&htim1);
  __HAL_TIM_ENABLE_DMA(&htim1, TIM_DMA_CC1 | TIM_DMA_TRIGGER);
  __HAL_TIM_ENABLE(&htim1);
  /* USER CODE END TIM1_Init 2 */

}

static void MX_TIM3_Init(void)
{

  TIM_ClockConfigTypeDef sClockSourceConfig = {0};
  TIM_MasterConfigTypeDef sMasterConfig = {0};

  /* USER CODE BEGIN TIM3_Init 1 */
  octim3.Pulse = 3750;
  /* USER CODE END TIM3_Init 1 */
  htim3.Instance = TIM3;
  htim3.Init.Prescaler = 11;
  htim3.Init.CounterMode = TIM_COUNTERMODE_UP;
  htim3.Init.Period = 7499;
  htim3.Init.ClockDivision = TIM_CLOCKDIVISION_DIV1;
  htim3.Init.AutoReloadPreload = TIM_AUTORELOAD_PRELOAD_ENABLE;
  if (HAL_TIM_Base_Init(&htim3) != HAL_OK)
  {
    Error_Handler();
  }
  sClockSourceConfig.ClockSource = TIM_CLOCKSOURCE_INTERNAL;
  if (HAL_TIM_ConfigClockSource(&htim3, &sClockSourceConfig) != HAL_OK)
  {
    Error_Handler();
  }
  sMasterConfig.MasterOutputTrigger = TIM_TRGO_UPDATE;
  sMasterConfig.MasterSlaveMode = TIM_MASTERSLAVEMODE_DISABLE;
  if (HAL_TIMEx_MasterConfigSynchronization(&htim3, &sMasterConfig) != HAL_OK)
  {
    Error_Handler();
  }
  /* USER CODE BEGIN TIM3_Init 2 */
  HAL_TIM_OC_ConfigChannel(&htim3, &octim3, 1 );
  __HAL_TIM_ENABLE(&htim3);

  /* USER CODE END TIM3_Init 2 */

}

static void MX_TIM5_Init(void)
{

  TIM_ClockConfigTypeDef sClockSourceConfig = {0};
  TIM_MasterConfigTypeDef sMasterConfig = {0};

  /* USER CODE BEGIN TIM5_Init 1 */
  octim5.Pulse = (FARR[List[FREQ_OUT].Val]+1)/2;
  octim5.OCMode = TIM_OCMODE_PWM2;
  octim5.OCFastMode = TIM_OCFAST_ENABLE;
  /* USER CODE END TIM5_Init 1 */
  htim5.Instance = TIM5;
  htim5.Init.Prescaler = 9;
  htim5.Init.CounterMode = TIM_COUNTERMODE_UP;
  htim5.Init.Period = 18000;
  htim5.Init.ClockDivision = TIM_CLOCKDIVISION_DIV1;
  htim5.Init.AutoReloadPreload = TIM_AUTORELOAD_PRELOAD_ENABLE;
  if (HAL_TIM_Base_Init(&htim5) != HAL_OK)
  {
    Error_Handler();
  }
  sClockSourceConfig.ClockSource = TIM_CLOCKSOURCE_INTERNAL;
  if (HAL_TIM_ConfigClockSource(&htim5, &sClockSourceConfig) != HAL_OK)
  {
    Error_Handler();
  }
  sMasterConfig.MasterOutputTrigger = TIM_TRGO_RESET;
  sMasterConfig.MasterSlaveMode = TIM_MASTERSLAVEMODE_DISABLE;
  if (HAL_TIMEx_MasterConfigSynchronization(&htim5, &sMasterConfig) != HAL_OK)
  {
    Error_Handler();
  }
  /* USER CODE BEGIN TIM5_Init 2 */
  htim5.Init.Period = FARR[List[FREQ_OUT].Val];
  if (HAL_TIM_Base_Init(&htim5) != HAL_OK)
  {
    Error_Handler();
  }
  HAL_TIM_OC_ConfigChannel(&htim5, &octim5, 3 );
  __HAL_TIM_URS_ENABLE(&htim5);
  __HAL_TIM_ENABLE(&htim5);
  /* USER CODE END TIM5_Init 2 */

}

static void MX_TIM7_Init(void)
{

  /* USER CODE BEGIN TIM7_Init 0 */
  // aka tim_da
  /* USER CODE END TIM7_Init 0 */

  TIM_MasterConfigTypeDef sMasterConfig = {0};

  htim7.Instance = TIM7;
  htim7.Init.Prescaler = 2;
  htim7.Init.CounterMode = TIM_COUNTERMODE_UP;
  htim7.Init.Period = 999;
  htim7.Init.AutoReloadPreload = TIM_AUTORELOAD_PRELOAD_DISABLE;
  if (HAL_TIM_Base_Init(&htim7) != HAL_OK)
  {
    Error_Handler();
  }
  sMasterConfig.MasterOutputTrigger = TIM_TRGO_RESET;
  sMasterConfig.MasterSlaveMode = TIM_MASTERSLAVEMODE_DISABLE;
  if (HAL_TIMEx_MasterConfigSynchronization(&htim7, &sMasterConfig) != HAL_OK)
  {
    Error_Handler();
  }
  /* USER CODE BEGIN TIM7_Init 2 */
  __HAL_TIM_ENABLE_DMA(&htim7,TIM_DMA_UPDATE);
  __HAL_TIM_ENABLE(&htim7);
  /* USER CODE END TIM7_Init 2 */

}

static void MX_DMA_Init(void)
{

  /* DMA controller clock enable */
  __HAL_RCC_DMA2_CLK_ENABLE();
  __HAL_RCC_DMA1_CLK_ENABLE();

  /* DMA interrupt init */
  /* DMA1_Stream5_IRQn interrupt configuration */
  HAL_NVIC_SetPriority(DMA1_Stream5_IRQn, 0, 0);
  HAL_NVIC_EnableIRQ(DMA1_Stream5_IRQn);
  /* DMA2_Stream0_IRQn interrupt configuration */
  HAL_NVIC_SetPriority(DMA2_Stream0_IRQn, 0, 0);
  HAL_NVIC_EnableIRQ(DMA2_Stream0_IRQn);

}

static void MX_GPIO_Init(void)
{
  GPIO_InitTypeDef GPIO_InitStruct = {0};

  /* GPIO Ports Clock Enable */
  __HAL_RCC_GPIOH_CLK_ENABLE();
  __HAL_RCC_GPIOA_CLK_ENABLE();
  __HAL_RCC_GPIOC_CLK_ENABLE();
  __HAL_RCC_GPIOB_CLK_ENABLE();

  /*Configure GPIO pin Output Level */
  HAL_GPIO_WritePin(Fo2_GPIO_Port, Fo2_Pin, GPIO_PIN_RESET);

  /*Configure GPIO pin Output Level */
  HAL_GPIO_WritePin(GPIOC, Az_Pin|Ay_Pin|LcdRs_Pin, GPIO_PIN_RESET);

  /*Configure GPIO pin Output Level */
  HAL_GPIO_WritePin(GPIOB, Ax_Pin|Dres_Pin, GPIO_PIN_RESET);

  /*Configure GPIO pin Output Level */
  HAL_GPIO_WritePin(GPIOB, SS_Pin|TpCs_Pin, GPIO_PIN_SET);

  /*Configure GPIO pin Output Level */
  HAL_GPIO_WritePin(LcdCs_GPIO_Port, LcdCs_Pin, GPIO_PIN_SET);

  /*Configure GPIO pin : Fo2_Pin */
  GPIO_InitStruct.Pin = Fo2_Pin;
  GPIO_InitStruct.Mode = GPIO_MODE_OUTPUT_PP;
  GPIO_InitStruct.Pull = GPIO_NOPULL;
  GPIO_InitStruct.Speed = GPIO_SPEED_FREQ_LOW;
  HAL_GPIO_Init(Fo2_GPIO_Port, &GPIO_InitStruct);

  /*Configure GPIO pins : Az_Pin Ay_Pin LcdRs_Pin */
  GPIO_InitStruct.Pin = Az_Pin|Ay_Pin|LcdRs_Pin;
  GPIO_InitStruct.Mode = GPIO_MODE_OUTPUT_PP;
  GPIO_InitStruct.Pull = GPIO_NOPULL;
  GPIO_InitStruct.Speed = GPIO_SPEED_FREQ_LOW;
  HAL_GPIO_Init(GPIOC, &GPIO_InitStruct);

  /*Configure GPIO pins : Ax_Pin Dres_Pin */
  GPIO_InitStruct.Pin = Ax_Pin|Dres_Pin;
  GPIO_InitStruct.Mode = GPIO_MODE_OUTPUT_PP;
  GPIO_InitStruct.Pull = GPIO_NOPULL;
  GPIO_InitStruct.Speed = GPIO_SPEED_FREQ_LOW;
  HAL_GPIO_Init(GPIOB, &GPIO_InitStruct);

  /*Configure GPIO pin : Boot1_Pin */
  GPIO_InitStruct.Pin = Boot1_Pin;
  GPIO_InitStruct.Mode = GPIO_MODE_INPUT;
  GPIO_InitStruct.Pull = GPIO_NOPULL;
  HAL_GPIO_Init(Boot1_GPIO_Port, &GPIO_InitStruct);

  /*Configure GPIO pins : SS_Pin TpCs_Pin */
  GPIO_InitStruct.Pin = SS_Pin|TpCs_Pin;
  GPIO_InitStruct.Mode = GPIO_MODE_OUTPUT_PP;
  GPIO_InitStruct.Pull = GPIO_PULLUP;
  GPIO_InitStruct.Speed = GPIO_SPEED_FREQ_LOW;
  HAL_GPIO_Init(GPIOB, &GPIO_InitStruct);

  /*Configure GPIO pin : LcdCs_Pin */
  GPIO_InitStruct.Pin = LcdCs_Pin;
  GPIO_InitStruct.Mode = GPIO_MODE_OUTPUT_PP;
  GPIO_InitStruct.Pull = GPIO_PULLUP;
  GPIO_InitStruct.Speed = GPIO_SPEED_FREQ_LOW;
  HAL_GPIO_Init(LcdCs_GPIO_Port, &GPIO_InitStruct);

  /*Configure GPIO pin : TpI_Pin */
  GPIO_InitStruct.Pin = TpI_Pin;
  GPIO_InitStruct.Mode = GPIO_MODE_INPUT;
  GPIO_InitStruct.Pull = GPIO_PULLUP;
  HAL_GPIO_Init(TpI_GPIO_Port, &GPIO_InitStruct);

}

/* USER CODE BEGIN 4 */
// Callback: timer has rolled over
void HAL_TIM_PeriodElapsedCallback(TIM_HandleTypeDef *htim)
{
  // Check which version of the timer triggered this callback
  if (htim == &htim3 )
  {
	  htim->Instance->SR =0;
	  Tim3_ISP();
  }
}

/* USER CODE END 4 */

void Error_Handler(void)
{
  __disable_irq();
  while (1)
  {
  }
}
